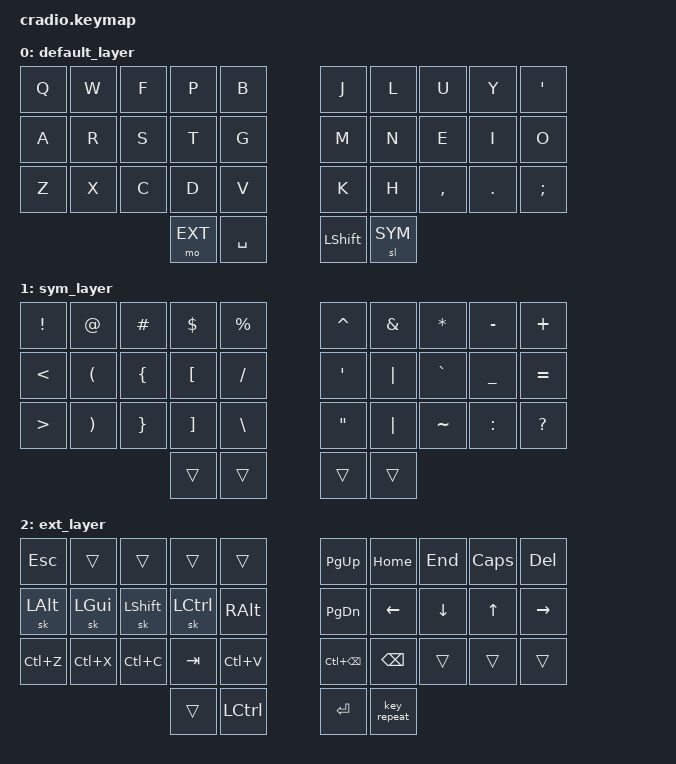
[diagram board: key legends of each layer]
// Copyright (c) 2022 The ZMK Contributors
// SPDX-License-Identifier: MIT

#include <behaviors.dtsi>
#include <dt-bindings/zmk/keys.h>
#include <dt-bindings/zmk/bt.h>

// Home row mods macro
#define HRML(k1,k2,k3,k4) &ht LSHFT k1  &ht LALT k2  &ht LCTRL k3  &ht LGUI k4
#define HRMR(k1,k2,k3,k4) &ht RGUI k1  &ht RCTRL k2  &ht RALT k3  &ht RSHFT k4


// Layers
#define BASE 0
#define SYM 1
#define EXT 2
#define FNC 3
#define SYM2 4
#define SETTINGS 5

/ {
    behaviors {
        ht: hold_tap {
            label = "hold_tap";
            compatible = "zmk,behavior-hold-tap";
            #binding-cells = <2>;
            flavor = "tap-preferred";
            tapping-term-ms = <220>;
            quick-tap-ms = <150>;
            global-quick-tap;
            bindings = <&kp>, <&kp>;
        };
    };

    conditional_layers {
        compatible = "zmk,conditional-layers";
        tri_layer {
            if-layers = <1 2>;
            then-layer = <3>;
        };
    };

    keymap {
        compatible = "zmk,keymap";
        default_layer {
            bindings = <
            &kp Q &kp W &kp F &kp P &kp B &kp J &kp L &kp U &kp Y &kp APOS
            &kp A &kp R &kp S &kp T &kp G  &kp M &kp N &kp E &kp I &kp O
            &kp Z &kp X &kp C &kp D  &kp V &kp K &kp H &kp COMMA &kp PERIOD &kp SEMICOLON
            &mo EXT &kp SPACE &kp LSHIFT &sl SYM
            >;
        };

        sym_layer {
            bindings = <
            // ! @ # $ %  ^ & * - + 
            &kp EXCL &kp AT_SIGN &kp HASH &kp DOLLAR &kp PERCENT &kp CARET &kp AMPS &kp ASTRK &kp MINUS &kp PLUS
            // < ( { [ / 
            &kp LT &kp LPAR &kp LBRC &kp LBKT  &kp FSLH    &kp APOS &kp PIPE &kp GRAVE &kp UNDERSCORE &kp EQUAL
            &kp GT &kp RPAR &kp RBRC &kp RBKT  &kp BSLH    &kp DQT &kp PIPE &kp TILDE &kp COLON &kp QMARK
            &trans &trans &trans &trans
            >;
        };

		    ext_layer {
        		bindings = <
        		&kp ESC  &trans &trans  &trans  &trans    			        &kp PG_UP  &kp HOME &kp END &kp CAPS &kp DEL
        		&sk LALT &sk LGUI  &sk LSHIFT  &sk LCTRL  &kp RALT 			&kp PG_DN &kp LEFT  &kp DOWN &kp UP &kp RIGHT
        		&kp LC(Z)  &kp LC(X) &kp LC(C) &kp TAB   &kp LC(V)          &kp LC(BSPC) &kp BSPC &trans &trans  &trans
        					                        &trans &kp LCTRL    &kp ENTER  &key_repeat
        		>;
    		};


    };
};
